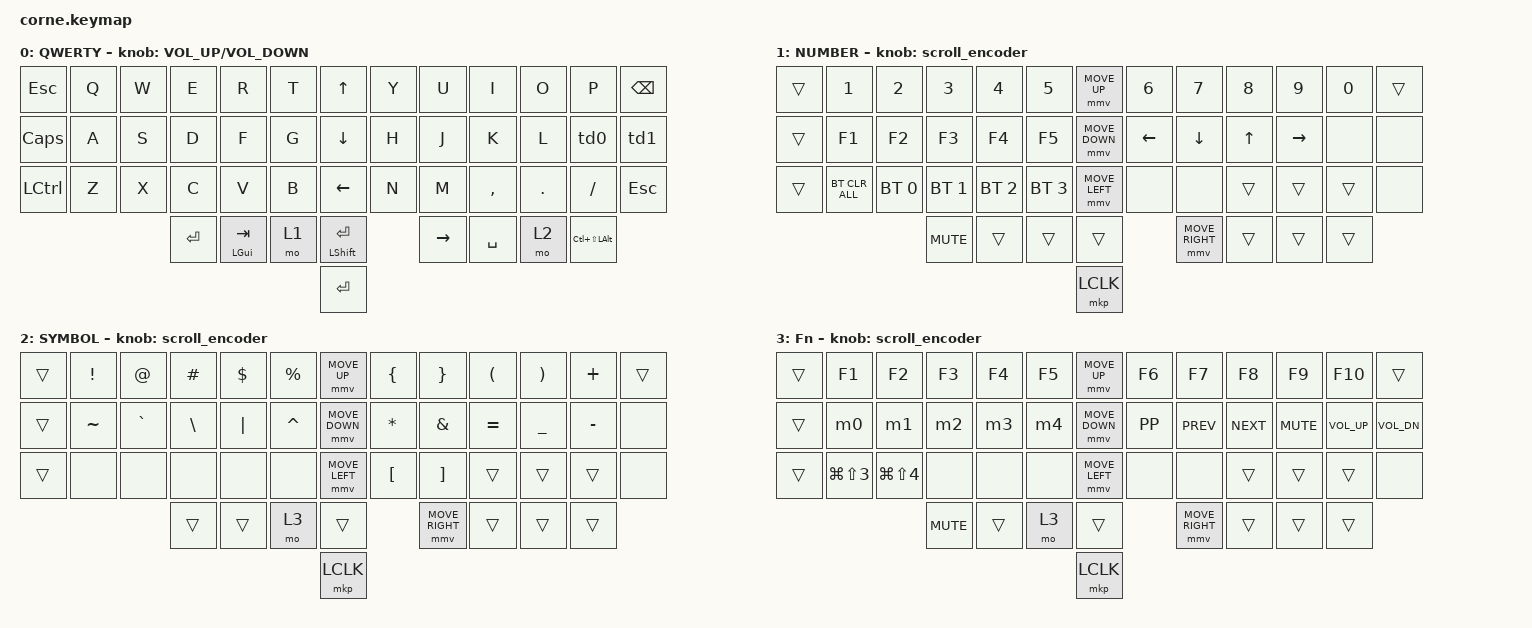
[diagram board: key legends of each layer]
#include <behaviors/mouse_keys.dtsi>
#include <behaviors.dtsi>
#include <dt-bindings/zmk/bt.h>
#include <dt-bindings/zmk/keys.h>
#include <dt-bindings/zmk/mouse.h>
#include <dt-bindings/zmk/outputs.h>
#include <dt-bindings/zmk/rgb.h>

#define ZMK_MOUSE_DEFAULT_MOVE_VAL 1200  // 600
#define ZMK_MOUSE_DEFAULT_SCRL_VAL 20    // 10
#define U_MS_U &mmv MOVE_UP
#define U_MS_D &mmv MOVE_DOWN
#define U_MS_L &mmv MOVE_LEFT
#define U_MS_R &mmv MOVE_RIGHT

/ {
    behaviors {
        td0: td0 {
            compatible = "zmk,behavior-tap-dance";
            label = "TD0";
            #binding-cells = <0>;
            bindings = <&kp SEMI>, <&kp COLON>;
        };

			  td1: td1 {
            compatible = "zmk,behavior-tap-dance";
            label = "TD1";
            #binding-cells = <0>;
            bindings = <&kp SQT>, <&kp DQT>;
				};
				macros {
					m0: m0 {
							compatible = "zmk,behavior-macro";
							#binding-cells = <0>;
							bindings
									= <&macro_tap &kp G &kp U &kp S &kp S &kp Y &kp EXCL &kp AT
										&kp N6 &kp N5 &kp N1 &kp N0 >;
					};
					m1: m1 {
							compatible = "zmk,behavior-macro";
							#binding-cells = <0>;
							bindings
									= <&macro_tap &kp N6 &kp N5 &kp N1 &kp N0 &kp J &kp A &kp S
										&kp N &kp G &kp ASTRK &kp AT>;
					};
					m2: m2 {
							compatible = "zmk,behavior-macro";
							#binding-cells = <0>;
							bindings
									= <&macro_tap &kp N &kp G &kp O &kp C &kp K &kp I &kp E &kp U
										&kp T &kp R &kp A &kp N &kp G &kp DOT
										&kp N &kp G &kp U &kp Y &kp E &kp N
										&kp AT &kp A &kp N &kp Z
										&kp DOT &kp C &kp O &kp M>;
					};
					m3: m3 {
							compatible = "zmk,behavior-macro";
							#binding-cells = <0>;
							bindings
									= <&macro_tap &kp N &kp G &kp U &kp Y &kp E &kp N &kp N1 &kp N8>;
					};
			    m4: m4 {
							compatible = "zmk,behavior-macro";
							#binding-cells = <0>;
							bindings
									= <&macro_tap &kp N2 &kp N5 &kp N1 &kp N2
										&kp N2 &kp N0 &kp N1 &kp N5>;
					};
    		};
        mmv {
            acceleration-exponent = <1>;      // 1
            time-to-max-speed-ms = <900>;    // 40
            delay-ms = <0>;                   // 0
        };

        msc {
            acceleration-exponent = <1>;      // 0
            time-to-max-speed-ms = <400>;      // 500
            delay-ms = <0>;                   // 10
        };
    };

    rgb_encoder: rgb_encoder {
        compatible = "zmk,behavior-sensor-rotate";
        label = "RGB_ENCODER";
        #sensor-binding-cells = <0>;
        bindings = <&rgb_ug RGB_BRI>, <&rgb_ug RGB_BRD>;
    };

    scroll_encoder: scroll_encoder {
        compatible = "zmk,behavior-sensor-rotate";
        #sensor-binding-cells = <0>;
        bindings = <&msc SCRL_DOWN>, <&msc SCRL_UP>;

        tap-ms = <30>;
    };

    keymap {
        compatible = "zmk,keymap";

        default_layer {
            display-name = "QWERTY";
            bindings = <
&kp ESC    			&kp Q  &kp W      &kp E         &kp R  &kp T           &kp UP_ARROW     &kp Y        &kp U  &kp I      &kp O    &kp P     &kp BSPC
&kp CAPS				&kp A  &kp S      &kp D         &kp F  &kp G           &kp DOWN_ARROW   &kp H        &kp J  &kp K      &kp L    &td0      &td1
&kp LCTRL  			&kp Z  &kp X      &kp C         &kp V  &kp B           &kp LEFT_ARROW   &kp N        &kp M  &kp COMMA  &kp DOT  &kp FSLH  &kp ESC
									     &kp ENTER  &mt LGUI TAB 	&mo 1  &mt LSHFT ENTER &kp RIGHT_ARROW  &kp SPACE    &mo 2  &kp LC(LS(LALT))
                                                             			     &kp ENTER
            >;

            label = "QWERTY";
            sensor-bindings = <&inc_dec_kp C_VOLUME_UP C_VOLUME_DOWN>;
        };

        lower_layer {
            display-name = "NUMBER";
            bindings = <
&trans  &kp N1           &kp N2         &kp N3        &kp N4        &kp N5				&mmv MOVE_UP     &kp N6   &kp N7     &kp N8       &kp N9      &kp N0    &trans
&trans  &kp F1   				 &kp F2   	 		&kp F3  			&kp F4 			  &kp F5				&mmv MOVE_DOWN   &kp LEFT &kp DOWN   &kp UP       &kp RIGHT   &none  	 	&none
&trans  &bt BT_CLR_ALL 	 &bt BT_SEL 0  	&bt BT_SEL 1  &bt BT_SEL 2  &bt BT_SEL 3	&mmv MOVE_LEFT   &none 		&none 		 &trans  			&trans  		&trans		&none
                         &kp C_MUTE     &trans        &trans        &trans				&mmv MOVE_RIGHT  &trans   &trans     &trans
                                                                                  &mkp LCLK
            >;

            label = "NUMBER";
            sensor-bindings = <&scroll_encoder>;
        };

        raise_layer {
            display-name = "SYMBOL";
            bindings = <
&trans  &kp EXCL      &kp AT        &kp HASH   &kp DLLR   &kp PRCNT    &mmv MOVE_UP     &kp LBRC   &kp RBRC   &kp LPAR   &kp RPAR  	&kp PLUS   &trans
&trans  &kp TILDE     &kp GRAVE     &kp BSLH   &kp PIPE   &kp CARET    &mmv MOVE_DOWN   &kp ASTRK  &kp AMPS  	&kp EQUAL  &kp UNDER 	&kp MINUS  &none
&trans  &none  				&none  				&none      &none      &none     	 &mmv MOVE_LEFT   &kp LBKT   &kp RBKT   &trans  	 &trans  		&trans  	 &none
                      &trans        &trans     &mo 3     	&trans    	 &mmv MOVE_RIGHT  &trans     &trans     &trans
                                                                       &mkp LCLK
            >;

            label = "SYMBOL";
            sensor-bindings = <&scroll_encoder>;
        };

        layer_3 {
            display-name = "Fn";
            bindings = <
&trans  &kp F1      						&kp F2      					&kp F3      &kp F4     	&kp F5      &mmv MOVE_UP 		 &kp F6       &kp F7     	&kp F8       &kp F9      &kp F10				&trans
&trans  &m0 										&m1   								&m2   			&m3					&m4    			&mmv MOVE_DOWN   &kp K_PP 		&kp K_PREV  &kp K_NEXT   &kp K_MUTE  &kp K_VOL_UP 	&kp K_VOL_DN
&trans  &kp LG(LS(NUMBER_3)) 		&kp LG(LS(NUMBER_4))  &none  			&none     	&none    		&mmv MOVE_LEFT   &none       	&none     	&trans  		 &trans   	 &trans 				&none
                    						&kp C_MUTE  					&trans      &mo 3     	&trans      &mmv MOVE_RIGHT  &trans       &trans     	&trans
                                                                   											  &mkp LCLK
            >;

            label = "FN";
            sensor-bindings = <&scroll_encoder>;
        };
    };
};
